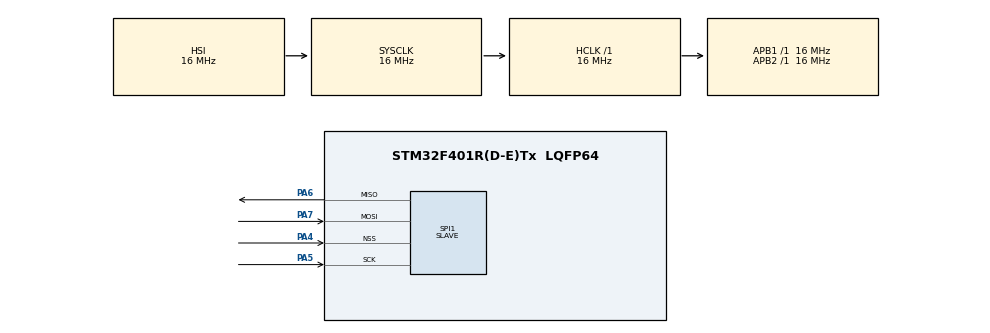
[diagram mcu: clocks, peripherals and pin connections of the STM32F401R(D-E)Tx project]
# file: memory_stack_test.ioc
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Mcu.Family=STM32F4
Mcu.Name=STM32F401R(D-E)Tx
Mcu.Package=LQFP64
NVIC.PriorityGroup=NVIC_PRIORITYGROUP_4
PA13.Mode=Serial_Wire
PA13.Signal=SYS_JTMS-SWDIO
PA14.Mode=Serial_Wire
PA14.Signal=SYS_JTCK-SWCLK
PA4.Mode=NSS_Signal_Hard_Input
PA4.Signal=SPI1_NSS
PA5.Mode=Full_Duplex_Slave
PA5.Signal=SPI1_SCK
PA6.Mode=Full_Duplex_Slave
PA6.Signal=SPI1_MISO
PA7.Mode=Full_Duplex_Slave
PA7.Signal=SPI1_MOSI
PH0\ -\ OSC_IN.Mode=HSE-External-Oscillator
PH0\ -\ OSC_IN.Signal=RCC_OSC_IN
PH1\ -\ OSC_OUT.Mode=HSE-External-Oscillator
PH1\ -\ OSC_OUT.Signal=RCC_OSC_OUT
ProjectManager.HeapSize=0x200
ProjectManager.StackSize=0x400
ProjectManager.TargetToolchain=STM32CubeIDE
RCC.AHBFreq_Value=16000000
RCC.APB1Freq_Value=16000000
RCC.APB2Freq_Value=16000000
RCC.CortexFreq_Value=16000000
RCC.HSE_VALUE=25000000
RCC.HSI_VALUE=16000000
RCC.LSE_VALUE=32768
RCC.SYSCLKFreq_VALUE=16000000
RCC.VCOOutputFreq_Value=192000000
SPI1.Direction=SPI_DIRECTION_2LINES
SPI1.Mode=SPI_MODE_SLAVE
SPI1.VirtualNSS=VM_NSSHARD
SPI1.VirtualType=VM_SLAVE
VP_CRC_VS_CRC.Mode=CRC_Activate
board=custom

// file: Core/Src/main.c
/* USER CODE BEGIN Header */
/**
  ******************************************************************************
  * @file           : main.c
  * @brief          : Main program body
  ******************************************************************************
  * @attention
  *
  * Copyright (c) 2024 STMicroelectronics.
  * All rights reserved.
  *
  * This software is licensed under terms that can be found in the LICENSE file
  * in the root directory of this software component.
  * If no LICENSE file comes with this software, it is provided AS-IS.
  *
  ******************************************************************************
  */
/* USER CODE END Header */
#include "main.h"
#include "crc.h"
#include "spi.h"
#include "gpio.h"

#include "bootloader.h"

#include "FreeRTOS.h"
#include "task.h"

#include "Det.h"
#include "NVM.h"
#include "Fls.h"
#include "Memif.h"
#include "Fee.h"
#include "Ea.h"
#include "Eep.h"

#define WRITE_SIZE    1024

/* USER CODE BEGIN PTD */
	TaskHandle_t RedLedHandle                 = NULL;
	TaskHandle_t GreenLedHandle               = NULL;
	//TaskHandle_t NvM_MainFunctionWriteHandle  = NULL;
	TaskHandle_t BL_MemoryWriteHandle  = NULL;

	extern Fls_ConfigType Fls_Config;
	extern Eep_ConfigType Eep_Config ;
	uint8_t Wdata[WRITE_SIZE]={1};
/* USER CODE END PTD */

/* USER CODE BEGIN PD */
	void Excute_bootloader_erase (void * Parameter);
	void GreenLed (void * Parameter);
	void Write_buffer(uint8_t val);

	void Excute_NvM_MainFunction (void *Parameter);
	void Excute_BL_MemoryWrite (void *Parameter);

/* USER CODE END PD */

void SystemClock_Config(void);
/* USER CODE BEGIN PFP */
uint8_t command[] = {0x0F, 0x16, 0x00,0x80, 0x00, 0x08,3,0x64,1,2,3,4,5,1,2,3,4,5,1,2,3,4,5,1,2,3,4,5,1,2,3,4,5,1,2,3,4,5,1,2,3,4,5,1,2,3,4,5,1,2,3,4,5,1,2,3,4,5,1,2,3,4,5,1,2,3,4,5,1,2,3,4,5,1,2,3,4,5,1,2,3,4,5,1,2,3,4,5,1,2,3,4,5,1,2,3,4,5,1,2,3,4,5,1,2,3,4,5, 20,20,20,20};
uint8_t backet3[] = {3,3,3,3,3,3,3,3,3,3,3,3,3,3,3,3,3,3,3,3,3,3,3,3,3,3,3,3,3};

/* USER CODE END PFP */

 uint32 Dummy[24] = {1, 1,1,1,1, 1, 1,1,1,1, 1, 1,1,1,1, 1, 1,1,1,1 ,0x6BBF3ED3};
int main(void)
{

  /* MCU Configuration--------------------------------------------------------*/

  /* Reset of all peripherals, Initializes the Flash interface and the Systick. */
  HAL_Init();

  /* USER CODE BEGIN Init */
  Fls_Init(&Fls_Config);
//  Eep_Init(&Eep_Config);
  Ea_Init(NULL) ;
  Fee_Init(NULL);
  NvM_Init(NULL);
  /* USER CODE END Init */

  /* Configure the system clock */
  SystemClock_Config();

  /* Initialize all configured peripherals */
  MX_GPIO_Init();
  MX_CRC_Init();
  MX_SPI1_Init();
  /* USER CODE BEGIN 2 */

  xTaskCreate(Excute_bootloader_erase, "bootloader erase", 128, NULL, 1, &RedLedHandle);
  //xTaskCreate(GreenLed, "Green LED Task", 128, NULL, 1, &GreenLedHandle);

//  xTaskCreate(Excute_NvM_MainFunction, "NvM Main Function", 128, NULL, 1, &NvM_MainFunctionWriteHandle);
  xTaskCreate(Excute_BL_MemoryWrite, "BL Memory Write", 128, NULL, 1, &BL_MemoryWriteHandle);

  //NvM_WriteBlock(3,Dummy);

  vTaskStartScheduler();
  //Bootloader_Memory_Write(command);

  /* Infinite loop */
  while (1)
  {

  }
}

void SystemClock_Config(void)
{
  RCC_OscInitTypeDef RCC_OscInitStruct = {0};
  RCC_ClkInitTypeDef RCC_ClkInitStruct = {0};

  /** Configure the main internal regulator output voltage
  */
  __HAL_RCC_PWR_CLK_ENABLE();
  __HAL_PWR_VOLTAGESCALING_CONFIG(PWR_REGULATOR_VOLTAGE_SCALE2);

  /** Initializes the RCC Oscillators according to the specified parameters
  * in the RCC_OscInitTypeDef structure.
  */
  RCC_OscInitStruct.OscillatorType = RCC_OSCILLATORTYPE_HSI;
  RCC_OscInitStruct.HSIState = RCC_HSI_ON;
  RCC_OscInitStruct.HSICalibrationValue = RCC_HSICALIBRATION_DEFAULT;
  RCC_OscInitStruct.PLL.PLLState = RCC_PLL_NONE;
  if (HAL_RCC_OscConfig(&RCC_OscInitStruct) != HAL_OK)
  {
    Error_Handler();
  }

  /** Initializes the CPU, AHB and APB buses clocks
  */
  RCC_ClkInitStruct.ClockType = RCC_CLOCKTYPE_HCLK|RCC_CLOCKTYPE_SYSCLK
                              |RCC_CLOCKTYPE_PCLK1|RCC_CLOCKTYPE_PCLK2;
  RCC_ClkInitStruct.SYSCLKSource = RCC_SYSCLKSOURCE_HSI;
  RCC_ClkInitStruct.AHBCLKDivider = RCC_SYSCLK_DIV1;
  RCC_ClkInitStruct.APB1CLKDivider = RCC_HCLK_DIV1;
  RCC_ClkInitStruct.APB2CLKDivider = RCC_HCLK_DIV1;

  if (HAL_RCC_ClockConfig(&RCC_ClkInitStruct, FLASH_LATENCY_0) != HAL_OK)
  {
    Error_Handler();
  }
}

/* USER CODE BEGIN 4 */

void Excute_bootloader_erase (void * Parameter){

}
void GreenLed (void * Parameter){

	for(;;){

	}

}

//void Excute_NvM_MainFunction (void *Parameter){
//
//	while(1){
//		NvM_MainFunction();
//	}
//
//}

void Excute_BL_MemoryWrite (void *Parameter){

	while(1){
		Bootloader_Memory_Write(command);
	}

}

void Write_buffer(uint8 val)
{
    uint16 count =0 ;
    for(count = 0 ;count <WRITE_SIZE ;count++)
    {
        Wdata[count] = val ;
    }
}

/* USER CODE END 4 */

void Error_Handler(void)
{
  __disable_irq();
  while (1)
  {
  }
}
